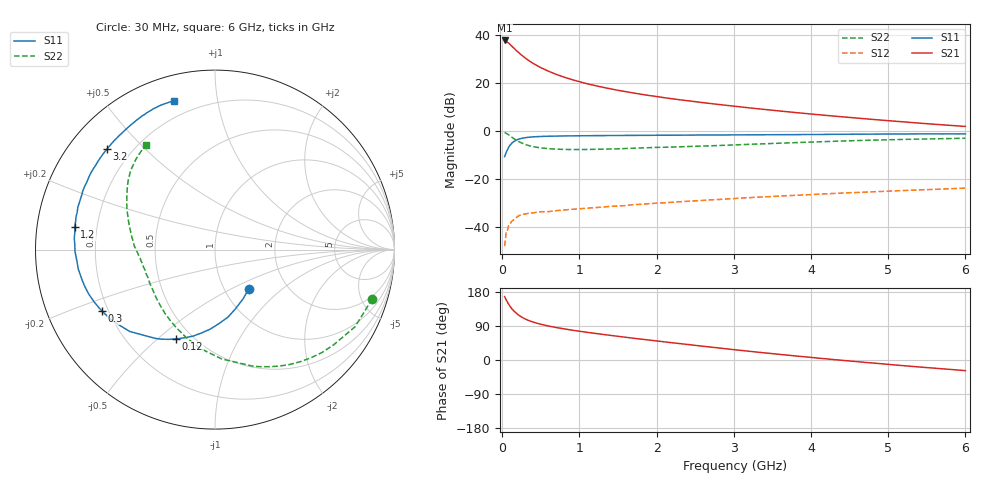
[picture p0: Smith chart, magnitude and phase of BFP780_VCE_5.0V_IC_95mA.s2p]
! Infineon Technologies  Discrete & RF Semiconductors
! BFP780
! VCE =  5.0 V,  IC =  95 mA
! Common Emitter S-Parameters:  Jul 2015
# GHz  S  MA  R  50
!  f  S11  S21  S12  S22
! GHz  MAG  ANG  MAG  ANG  MAG  ANG  MAG  ANG
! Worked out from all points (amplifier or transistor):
!   75 points, 30 MHz to 6 GHz, reference 50 ohm
!   highest |S21| = 37.7 dB at 30 MHz (marker M1)
!   |S21| within 3 dB of that: start of sweep to 143.5 MHz
!   unconditionally stable (mu >= 1): 1.672 GHz to end of sweep
!   at 150 MHz: K = 0.20, MSG = 35.8 dB, |S12| = -37.1 dB
!   at 2.3 GHz: K = 1.13, MAG = 19.1 dB, |S12| = -29.6 dB
!   at 6 GHz: K = 1.19, MAG = 10.3 dB, |S12| = -23.9 dB
!   S11 on the Smith chart (normalised r, x): 30 MHz: 1.30, -0.62; 120 MHz: 0.41, -0.58; 300 MHz: 0.17, -0.25; 1.2 GHz: 0.12, +0.08; 3.2 GHz: 0.11, +0.39; 6 GHz: 0.12, +0.75
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0.03  0.2885 -49.1  76.69 167.4  0.0039 55.6  0.917 -17.3
0.05  0.35 -71.2  73.83 158.9  0.0077 51.9  0.8906 -28.9
0.07  0.4115 -86.6  70.05 151.5  0.0088 59.8  0.8478 -38.7
0.09  0.471 -99.3  65.72 144.8  0.0106 56.4  0.8063 -48.3
0.12  0.5424 -113.5  59.15 136.2  0.0128 48.9  0.7423 -60.9
0.15  0.5961 -123.9  53.08 129.3  0.014 43.8  0.6853 -71.7
0.2  0.6588 -136.2  44.48 120.2  0.0163 39.0  0.6103 -86.5
0.25  0.6947 -145.0  37.91 113.3  0.018 34.5  0.5573 -98.3
0.3  0.7179 -151.6  32.7 107.9  0.0183 31.3  0.516 -108.0
0.4  0.7463 -160.8  25.47 100.1  0.0193 29.7  0.4665 -122.5
0.5  0.7596 -167.1  20.74 94.3  0.0204 26.1  0.4388 -133.1
0.6  0.7694 -171.9  17.44 89.6  0.0205 26.5  0.423 -141.2
0.8  0.7799 -179.1  13.18 82.2  0.0222 27.2  0.409 -152.6
1.1  0.7868 173.0  9.578 73.0  0.0242 28.1  0.4065 -164.0
1.2  0.7922 170.8  8.789 70.3  0.0249 29.3  0.4104 -166.6
1.6  0.7997 162.9  6.546 59.9  0.0275 30.3  0.4265 -175.6
2.1  0.8069 154.4  4.898 47.9  0.0313 31.2  0.4522 176.4
3.1  0.821 138.7  3.13 25.2  0.0394 30.4  0.5132 160.5
3.2  0.8221 137.2  3.007 23.0  0.0401 30.1  0.5204 158.9
4.1  0.837 124.7  2.162 4.8  0.0474 26.9  0.5876 146.5
5.1  0.8567 113.5  1.577 -13.3  0.0558 21.8  0.6539 134.4
6  0.8598 105.4  1.23 -28.0  0.0635 16.1  0.6972 123.7
